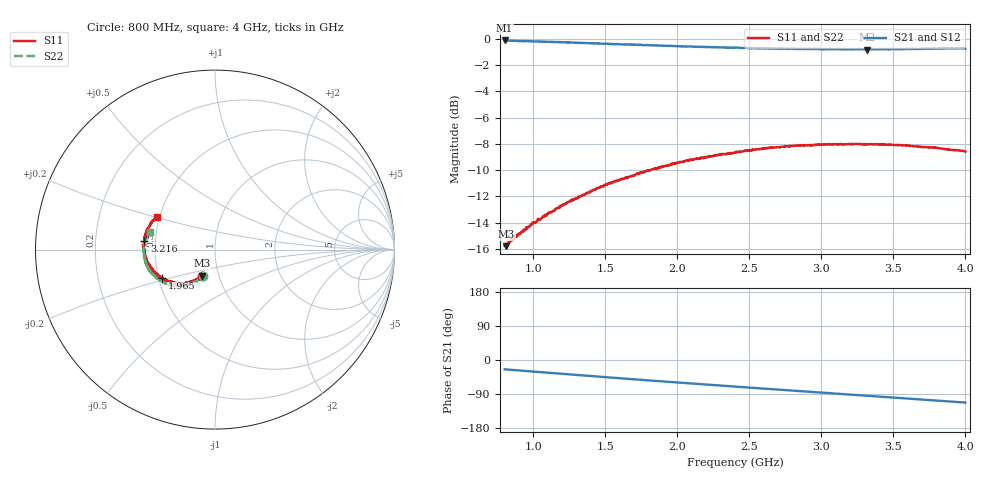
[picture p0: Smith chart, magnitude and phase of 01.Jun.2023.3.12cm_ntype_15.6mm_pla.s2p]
!Keysight Technologies N9950B: A.12.38
!Date: Thursday, 01 June 2023 14:18:12
!Timezone: (UTC-06:00) Central Time (US & Canada)
!Model: N9950B
!Serial: MY61131330
!GPS Latitude:
!GPS Longitude:
!GPS TimeStamp: 0001-01-01 00:00:00Z
!GPS Seconds Since Last Read: 0
!CHECKSUM:0021487317
!Correction: S11(ON U)S21(ON U)S12(ON U)S22(ON U)
!S2P File: Measurements:S11,S21,S12,S22:
# Hz S DB R 50
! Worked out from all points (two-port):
!   1001 points, 800 MHz to 4 GHz, reference 50 ohm
!   highest |S21| = -0.12 dB at 800 MHz (marker M1); lowest = -0.8 dB at 3.315 GHz (marker M2)
!   |S21| within 3 dB of the highest: start of sweep to end of sweep
!   lowest |S11| = -15.8 dB at 812.8 MHz (marker M3), VSWR 1.39, Z = 41.6 - j12.4 ohm
!   |S11| at or under -10 dB: start of sweep to 1.798 GHz; 1.79854 GHz to 1.803257 GHz (4.717 MHz wide, 0.262 % of centre); 1.805786 GHz to 1.813676 GHz (7.89 MHz wide, 0.436 % of centre)
!   |S22| runs from -15.9 to -8.0 dB; largest |S21 - S12| = 0.0052
!   S11 on the Smith chart (normalised r, x): 800 MHz: 0.83, -0.25; 1.965 GHz: 0.52, -0.19; 3.216 GHz: 0.43, +0.05; 4 GHz: 0.48, +0.20
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8e8  -15.77 -115.7  -0.12 -24.6  -0.13 -24.6  -15.89 -114.1
8.128e8  -15.79 -116.3  -0.15 -25.0  -0.14 -25.1  -15.65 -114.4
8.864e8  -14.91 -118.1  -0.14 -27.2  -0.15 -27.3  -15.02 -116.4
9.92e8  -14.00 -122.4  -0.19 -30.4  -0.19 -30.5  -14.05 -119.5
1.0432e9  -13.76 -123.1  -0.20 -31.9  -0.21 -31.9  -13.65 -120.8
1.168e9  -12.89 -127.4  -0.25 -35.7  -0.24 -35.6  -12.84 -123.6
1.3344e9  -11.97 -132.0  -0.31 -40.4  -0.33 -40.5  -11.97 -129.2
1.5168e9  -11.02 -137.9  -0.38 -45.7  -0.39 -45.7  -11.08 -134.3
1.696e9  -10.40 -143.5  -0.42 -50.8  -0.45 -50.8  -10.41 -138.4
1.8688e9  -9.85 -148.4  -0.51 -55.7  -0.52 -55.6  -9.81 -143.2
1.9648e9  -9.50 -151.6  -0.54 -58.3  -0.55 -58.3  -9.54 -145.6
2.2208e9  -8.95 -158.5  -0.61 -65.3  -0.64 -65.2  -9.00 -152.5
2.4e9  -8.66 -163.7  -0.68 -70.1  -0.69 -70.2  -8.68 -156.9
2.6432e9  -8.31 -170.6  -0.74 -76.6  -0.76 -76.6  -8.29 -162.8
2.9344e9  -8.08 -178.5  -0.78 -84.3  -0.79 -84.3  -8.12 -170.2
3.216e9  -8.05 173.3  -0.81 -91.6  -0.81 -91.6  -8.00 -176.4
3.3152e9  -8.04 170.7  -0.81 -94.1  -0.79 -94.3  -8.01 -179.1
3.4688e9  -8.06 166.3  -0.79 -98.2  -0.80 -98.2  -8.08 177.0
3.5904e9  -8.12 162.8  -0.78 -101.5  -0.78 -101.4  -8.12 174.1
3.728e9  -8.24 158.6  -0.76 -105.0  -0.77 -105.1  -8.25 171.2
3.8656e9  -8.41 154.8  -0.73 -108.6  -0.74 -108.7  -8.40 168.0
4e9  -8.60 150.6  -0.75 -112.3  -0.72 -112.3  -8.55 164.9
